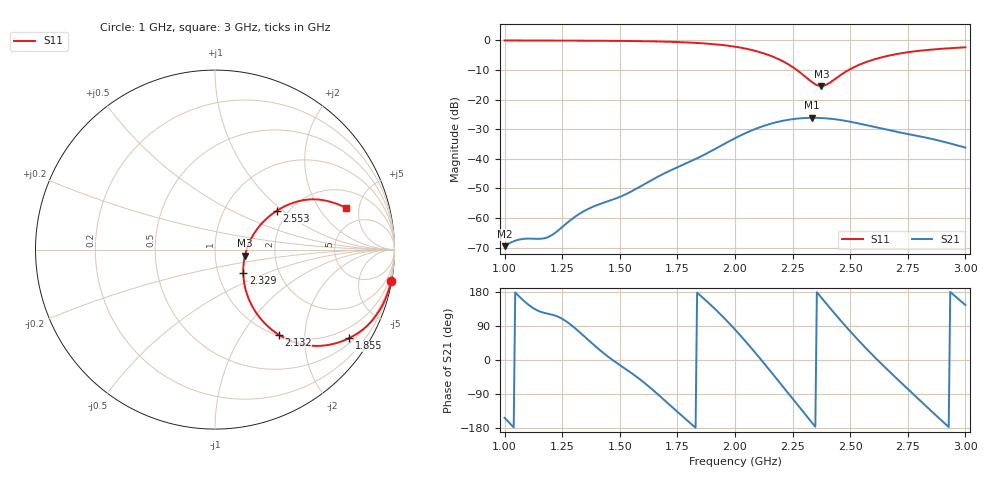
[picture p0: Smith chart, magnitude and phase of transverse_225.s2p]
! TOUCHSTONE file generated by CST MICROWAVE STUDIO
! Date and time: Tue Mar 11 13:57:52 2025
! Project name: transverse.cst
! Parameters = {Fracture=1; B=10; D=160; F=5; Feed=2.85625; L=100; M=30; R=0.384908; S=1; Theta=270; length=57.125; wave=114.25}
! Header version: 2024
! Port assignment regex: !\s*Touchstone port\s*([0-9]+)\s*=\s*(CST MWS port|CST DES external port|CST DES block port)\s*(.+)\s* \(\"(.*)\"\)(\s*mode\s*([0-9]+))?.*
! Touchstone port assignment:
! Touchstone port 1 = CST MWS port 1 ("")
! Touchstone port 2 = CST MWS port 2 ("")
# GHz S MA R 50
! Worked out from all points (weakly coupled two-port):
!   305 points, 1 GHz to 3 GHz, reference 50 ohm
!   highest |S21| = -26.14 dB at 2.336 GHz (marker M1); lowest = -69.5 dB at 1 GHz (marker M2)
!   lowest |S11| = -15.4 dB at 2.375 GHz (marker M3), VSWR 1.41, Z = 69.8 - j4.86 ohm
!   |S11| at or under -10 dB: 2.269 GHz to 2.493 GHz (224.6 MHz wide, 9.43 % of centre)
!   S12 and S22 are empty: the file has one direction only
!   S11 on the Smith chart (normalised r, x): 1 GHz: 0, -11; 1.855 GHz: 0.65, -3.20; 2.132 GHz: 1.01, -1.48; 2.329 GHz: 1.32, -0.36; 2.553 GHz: 1.75, +0.91; 3 GHz: 3.24, +3.64
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1  0.9977 -10.0  0.0003356 -152.6  0 0.0  0 0.0
1.06579  0.9966 -10.9  0.0004356 166.2  0 0.0  0 0.0
1.15789  0.9951 -12.3  0.0004478 126.9  0 0.0  0 0.0
1.19079  0.9945 -12.8  0.0004819 121.8  0 0.0  0 0.0
1.33553  0.9895 -15.5  0.001253 68.0  0 0.0  0 0.0
1.38816  0.9872 -16.6  0.001583 39.4  0 0.0  0 0.0
1.51974  0.9785 -19.8  0.00246 -21.6  0 0.0  0 0.0
1.67105  0.9582 -24.8  0.005143 -93.7  0 0.0  0 0.0
1.85526  0.8947 -33.5  0.01115 167.1  0 0.0  0 0.0
2  0.7831 -43.3  0.02231 80.5  0 0.0  0 0.0
2.06579  0.6991 -48.4  0.02945 35.1  0 0.0  0 0.0
2.13158  0.5921 -53.2  0.03676 -12.8  0 0.0  0 0.0
2.23026  0.3971 -56.9  0.04562 -87.0  0 0.0  0 0.0
2.32895  0.2047 -39.8  0.04932 -161.5  0 0.0  0 0.0
2.33553  0.1958 -36.6  0.04934 -166.5  0 0.0  0 0.0
2.375  0.1701 -11.5  0.04892 164.3  0 0.0  0 0.0
2.40132  0.1829 5.6  0.04812 145.0  0 0.0  0 0.0
2.46053  0.2634 26.3  0.04508 102.8  0 0.0  0 0.0
2.55263  0.4076 32.2  0.0384 41.0  0 0.0  0 0.0
2.67105  0.5567 29.5  0.03031 -31.0  0 0.0  0 0.0
2.82237  0.6821 23.4  0.02314 -117.9  0 0.0  0 0.0
3  0.7647 17.8  0.01552 145.1  0 0.0  0 0.0
